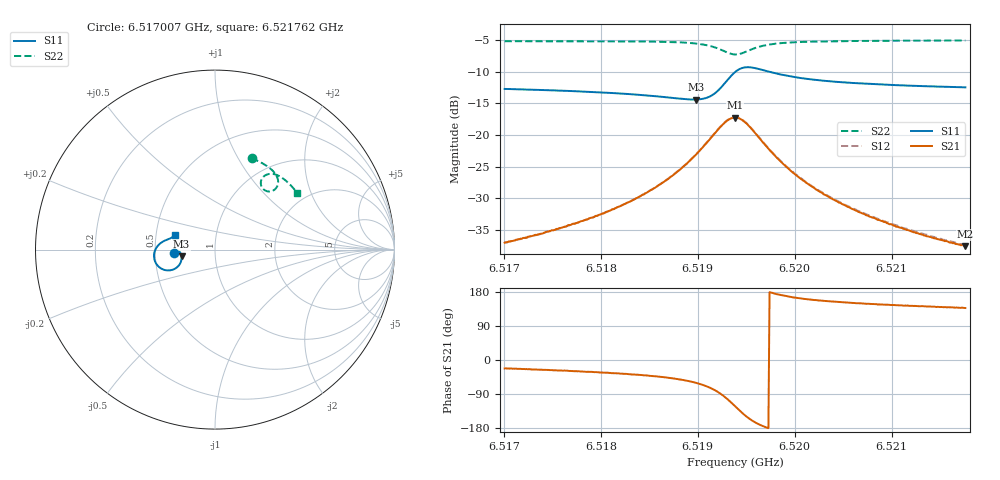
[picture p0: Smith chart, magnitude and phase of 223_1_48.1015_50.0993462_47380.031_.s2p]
#  HZ  S  RI  R  50.00
! Rohde & Schwarz Vector Network Analyzer
! Rohde-Schwarz,ZNB20-2Port,1311601062101988,3.16
! Created: UTC 12/23/2023, 3:56:59 AM
! freq[Hz]  re:S11  im:S11  re:S21  im:S21  re:S12  im:S12  re:S22  im:S22
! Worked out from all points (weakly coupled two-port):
!   401 points, 6.517007 GHz to 6.521762 GHz, reference 50 ohm
!   highest |S21| = -17.25 dB at 6.519385 GHz (marker M1); lowest = -37.5 dB at 6.521762 GHz (marker M2)
!   lowest |S11| = -14.4 dB at 6.51898 GHz (marker M3), VSWR 1.47, Z = 34.2 - j2.64 ohm
!   |S11| at or under -10 dB: start of sweep to 6.519392 GHz; 6.519731 GHz to end of sweep
!   |S22| runs from -7.3 to -5.1 dB; largest |S21 - S12| = 0.0043
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6.5170067e9  -0.2301 -0.0169  0.0131 -0.00537  0.0133 -0.00488  0.2036 0.5089
6.5173515e9  -0.2265 -0.012  0.0149 -0.00703  0.015 -0.00648  0.2291 0.4984
6.5178033e9  -0.2202 -0.00646  0.0181 -0.0106  0.0183 -0.00989  0.2624 0.4819
6.5182314e9  -0.2116 -0.00446  0.0227 -0.0167  0.0233 -0.016  0.2946 0.4617
6.5185999e9  -0.2008 -0.00906  0.029 -0.0281  0.03 -0.0271  0.3231 0.4376
6.518802e9  -0.1929 -0.0186  0.0331 -0.0405  0.0345 -0.0396  0.3386 0.4183
6.5189804e9  -0.1866 -0.0372  0.0348 -0.0606  0.037 -0.0598  0.35 0.393
6.5190755e9  -0.1868 -0.0549  0.0317 -0.0776  0.0343 -0.0772  0.3518 0.3738
6.5191587e9  -0.1938 -0.0763  0.022 -0.0971  0.0252 -0.097  0.347 0.3535
6.5192895e9  -0.2361 -0.1123  -0.0214 -0.1255  -0.0176 -0.127  0.3144 0.3253
6.5193371e9  -0.2639 -0.1162  -0.0467 -0.1261  -0.0433 -0.1285  0.2944 0.3244
6.5193846e9  -0.2935 -0.1088  -0.0726 -0.1165  -0.0697 -0.1195  0.2748 0.3323
6.5194441e9  -0.3234 -0.0845  -0.0964 -0.0921  -0.0944 -0.0956  0.2586 0.353
6.5195035e9  -0.338 -0.0526  -0.1059 -0.0629  -0.1048 -0.0665  0.2554 0.377
6.5195986e9  -0.3357 -0.00891  -0.0991 -0.0256  -0.099 -0.0288  0.2694 0.4053
6.5196937e9  -0.3212 0.0182  -0.0837 -0.00495  -0.0842 -0.00735  0.2898 0.4185
6.5199434e9  -0.2873 0.0461  -0.0523 0.012  -0.0531 0.0106  0.3328 0.4195
6.5201812e9  -0.2682 0.0548  -0.0364 0.014  -0.0373 0.0131  0.3598 0.4085
6.5205141e9  -0.2523 0.0613  -0.0247 0.0132  -0.0254 0.0126  0.3879 0.3896
6.5209778e9  -0.2389 0.0681  -0.0163 0.0112  -0.017 0.011  0.4181 0.3624
6.5213583e9  -0.231 0.0733  -0.0125 0.00995  -0.013 0.00992  0.4391 0.3391
6.5217625e9  -0.224 0.0788  -0.00975 0.00904  -0.0103 0.00885  0.459 0.3141
